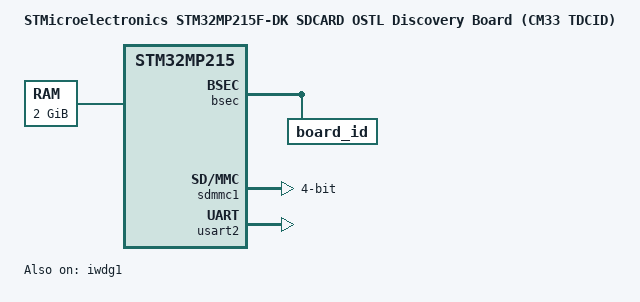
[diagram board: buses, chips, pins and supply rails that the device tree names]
// SPDX-License-Identifier: (GPL-2.0-only OR BSD-3-Clause)
/*
 * Copyright (C) STMicroelectronics 2025 - All Rights Reserved
 * Author: Gabriel Fernandez <gabriel.fernandez@foss.st.com> for STMicroelectronics.
 */

/dts-v1/;

#include <dt-bindings/clock/stm32mp21-clksrc.h>
#include "stm32mp215.dtsi"
#include "stm32mp21xf.dtsi"
#include "stm32mp21-lpddr4-1x16Gbits-1x16bits-800MHz.dtsi"
#include "stm32mp21-pinctrl.dtsi"
#include "stm32mp21xxan-pinctrl.dtsi"
#include "stm32mp215f-dk-cm33tdcid-ostl-rcc.dtsi"

/ {
	model = "STMicroelectronics STM32MP215F-DK SDCARD OSTL Discovery Board (CM33 TDCID)";
	compatible = "st,stm32mp215f-dk-cm33tdcid-ostl-sdcard", "st,stm32mp215f-dk", "st,stm32mp215";

	aliases {
		serial0 = &usart2;
	};

	chosen {
		stdout-path = "serial0:115200n8";
	};

	memory@80000000 {
		device_type = "memory";
		reg = <0x0 0x80000000 0x0 0x80000000>;
	};

	cpu0_opp_table: cpu0-opp-table {
		compatible = "operating-points-v2";
		opp-1200000000 {
			opp-hz = /bits/ 64 <1200000000>;
			opp-microvolt = <800000>;
			opp-supported-hw = <0x3>;
			st,opp-default;
			st,pll = <&pll1_cfg_1200Mhz>;
		};
		opp-1500000000 {
			opp-hz = /bits/ 64 <1500000000>;
			opp-microvolt = <910000>;
			opp-supported-hw = <0x2>;
			st,pll = <&pll1_cfg_1500MHz>;
		};
	};
};

&cpu0 {
	operating-points-v2 = <&cpu0_opp_table>;
};

&bsec {
	board_id: board_id@3d8 {
		reg = <0x3d8 0x4>;
	};
};

&iwdg1 {
	timeout-sec = <32>;
	status = "okay";
};

&sdmmc1 {
	pinctrl-names = "default";
	pinctrl-0 = <&sdmmc1_b4_pins_a>;
	st,neg-edge;
	bus-width = <4>;
	status = "okay";
};

&usart2 {
	pinctrl-names = "default";
	pinctrl-0 = <&usart2_pins_a>;
	status = "okay";
};
